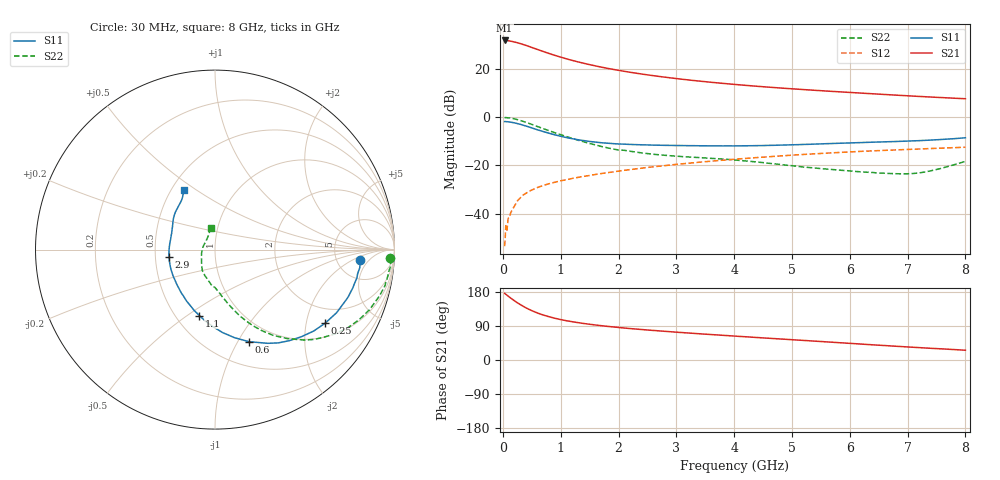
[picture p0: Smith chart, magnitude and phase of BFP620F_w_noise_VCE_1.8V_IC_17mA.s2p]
! Infineon Technologies  Discrete & RF Semiconductors
! BFP620F
! VCE =  1.8 V,  IC =  17 mA
! Common Emitter S-Parameters:  Dec 2014
# GHz  S  MA  R  50
!  f  S11  S21  S12  S22
! GHz  MAG  ANG  MAG  ANG  MAG  ANG  MAG  ANG
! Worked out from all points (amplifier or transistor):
!   95 points, 30 MHz to 8 GHz, reference 50 ohm
!   highest |S21| = 31.9 dB at 30 MHz (marker M1)
!   |S21| within 3 dB of that: start of sweep to 511.8 MHz
!   unconditionally stable (mu >= 1): 3.176 GHz to end of sweep
!   at 300 MHz: K = 0.25, MSG = 32.1 dB, |S12| = -33.5 dB
!   at 3.3 GHz: K = 1.01, MAG = 16.6 dB, |S12| = -18.9 dB
!   at 8 GHz: K = 1.07, MAG = 8.5 dB, |S12| = -12.5 dB
!   lowest NFmin = 0.76 dB at 450 MHz
!   S11 on the Smith chart (normalised r, x): 30 MHz: 8.64, -2.96; 250 MHz: 1.44, -2.59; 600 MHz: 0.76, -1.12; 1.1 GHz: 0.65, -0.56; 2.9 GHz: 0.59, -0.05; 8 GHz: 0.58, +0.44
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0.03  0.8125 -4.1  39.23 175.9  0.0021 86.3  0.9783 -2.9
0.08  0.8062 -11.2  38.9 169.9  0.0057 81.2  0.9742 -8.5
0.13  0.7901 -18.2  38.03 164.1  0.01 82.8  0.9586 -14.1
0.2  0.7634 -27.4  36.43 156.4  0.0143 76.1  0.9235 -21.3
0.25  0.7383 -33.7  35.22 151.1  0.0182 73.6  0.8917 -26.1
0.3  0.7126 -39.6  33.83 146.4  0.0211 71.8  0.857 -30.7
0.4  0.6549 -50.8  30.97 137.6  0.0264 67.8  0.7809 -38.6
0.5  0.5994 -60.6  28.1 130.3  0.0308 65.1  0.7093 -45.3
0.6  0.5471 -69.7  25.47 123.9  0.0348 62.8  0.6391 -50.9
0.7  0.5028 -77.5  23.12 118.6  0.0384 61.4  0.5781 -55.8
0.8  0.4641 -84.8  21.03 114.1  0.0416 60.4  0.5236 -59.8
0.9  0.43 -91.4  19.23 110.1  0.0447 59.5  0.4752 -63.4
1.1  0.3775 -103.3  16.29 103.6  0.0505 58.5  0.3955 -69.4
1.4  0.327 -119.1  13.17 96.3  0.0591 57.8  0.3084 -76.6
1.7  0.2952 -132.8  10.98 90.6  0.0675 57.4  0.2473 -83.4
2  0.2784 -144.5  9.406 85.9  0.0759 57.0  0.2085 -90.8
2.7  0.2621 -165.6  7.03 76.9  0.0961 54.9  0.1659 -106.1
2.9  0.2597 -170.5  6.557 74.6  0.102 54.2  0.1584 -109.6
4.1  0.2545 165.8  4.691 62.2  0.1366 48.8  0.1266 -124.8
5.4  0.2768 148.2  3.617 49.7  0.1741 41.4  0.0882 -148.8
6.7  0.3105 132.8  2.919 37.2  0.2072 32.7  0.0677 164.0
8  0.3737 117.9  2.418 25.8  0.2378 24.2  0.1207 101.5
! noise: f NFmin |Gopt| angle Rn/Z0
0.45  0.76  0.1  6  0.21
0.9  0.82  0.1  17  0.18
1.5  0.87  0.09  18  0.13
1.8  0.89  0.09  19  0.13
1.9  0.9  0.05  35  0.15
2.4  0.94  0.04  56  0.13
3.5  1.02  0.04  106  0.14
5.5  1.16  0.12  -145  0.09
6  1.2  0.12  240  0.13
